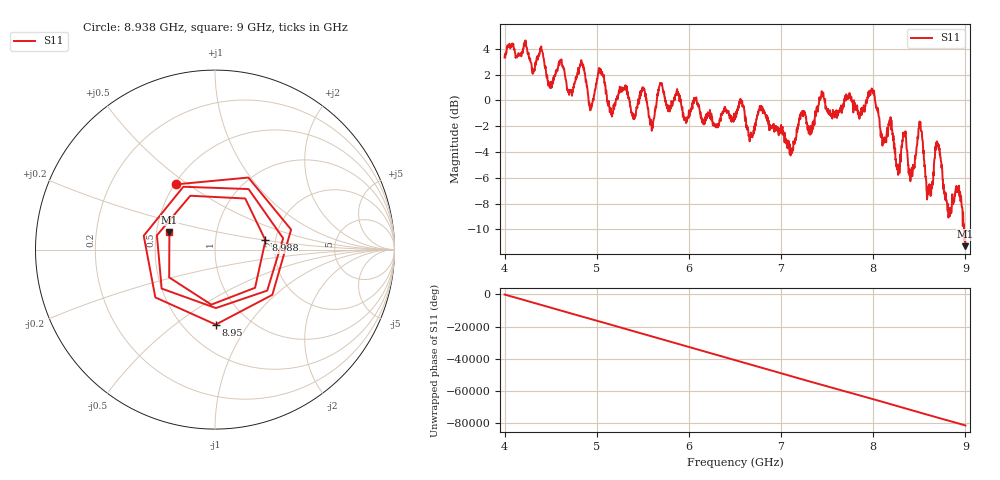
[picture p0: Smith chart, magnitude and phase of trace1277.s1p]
! Created with skrf 1.8.0 (http://scikit-rf.org).
# Hz S RI R 50.0
!freq ReS11 ImS11
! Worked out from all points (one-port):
!   1601 points, 4 GHz to 9 GHz, reference 50 ohm
!   lowest |S11| = -11.3 dB at 9 GHz (marker M1), VSWR 1.75, Z = 29.3 + j6.2 ohm
!   |S11| at or under -10 dB: 8.985242 GHz to end of sweep
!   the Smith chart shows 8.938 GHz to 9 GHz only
!   S11 on the Smith chart (normalised r, x): 8.938 GHz: 0.51, +0.45; 8.95 GHz: 0.71, -0.72; 8.988 GHz: 1.77, +0.20; 9 GHz: 0.59, +0.12
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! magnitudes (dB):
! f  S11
! 4 GHz  3.3
! 4.625 GHz  2.7
! 4.716 GHz  0.7
! 4.844 GHz  2.9
! 4.934 GHz  -0.7
! 5.034 GHz  2.2
! 5.15 GHz  -0.6
! 5.25 GHz  1.1
! 5.4 GHz  -1.2
! 5.506 GHz  1.0
! 5.597 GHz  -2.3
! 5.691 GHz  1.3
! 5.875 GHz  0.6
! 6.5 GHz  -1.5
! 7.125 GHz  -3.9
! 7.228 GHz  -0.9
! 7.75 GHz  0.4
! 7.991 GHz  0.7
! 8.262 GHz  -5.4
! 8.375 GHz  -4.5
! 8.512 GHz  -1.7
! 8.603 GHz  -7.0
! 8.697 GHz  -3.3
! 8.825 GHz  -8.7
! 8.938 GHz  -7.4
! 8.95 GHz  -7.6
! 8.988 GHz  -10.9
! 9 GHz  -11.3
